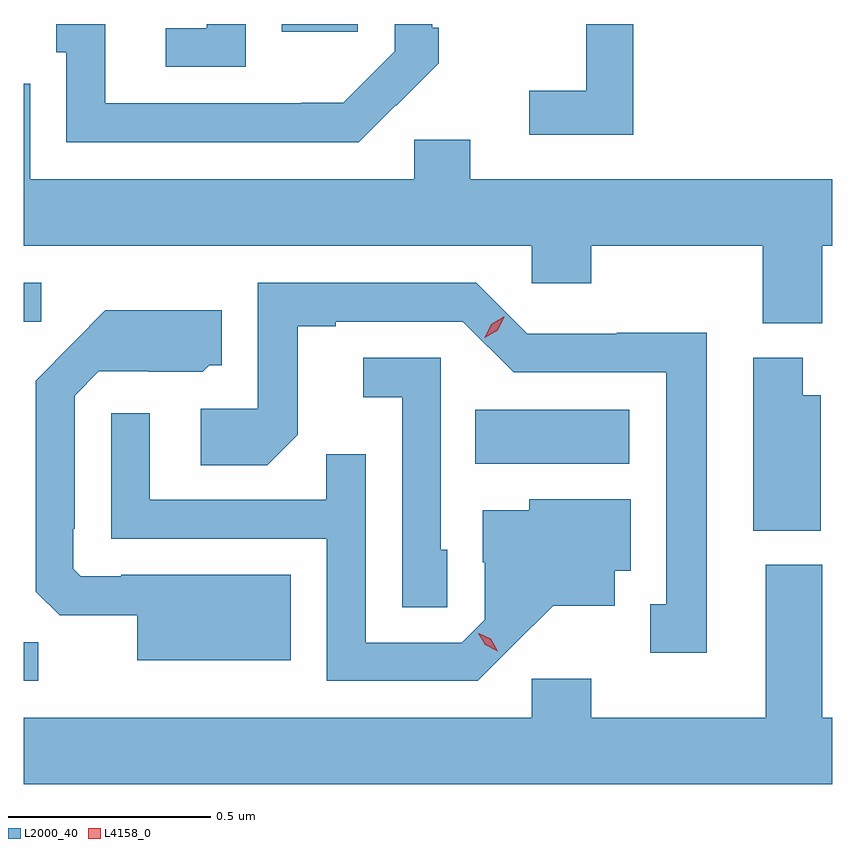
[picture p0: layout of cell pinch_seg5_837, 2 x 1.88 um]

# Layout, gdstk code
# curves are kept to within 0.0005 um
import gdstk
lib = gdstk.Library(unit=1e-6, precision=1e-09)
def R(c, l, rs):  # rectangles x0, y0, x1, y1
    for r in rs: c.add(gdstk.rectangle(r[:2], r[2:], *l))
def P(c, l, *ps):  # polygons
    for p in ps: c.add(gdstk.Polygon(p, *l))
L2000_40 = (2000, 40)
L4158_0 = (4158, 0)

pinch_seg5_837 = lib.new_cell('pinch_seg5_837')
R(pinch_seg5_837, L2000_40, [(765.177,890.316,765.213,890.411), (766.294,890.852,766.675,890.986), (765.177,891.204,765.22,891.3), (765.815,891.921,766.003,891.94)])
P(pinch_seg5_837, L2000_40, [(765.726,891.94),(765.63,891.94),(765.63,891.93),(765.528,891.93),(765.528,891.834),(765.726,891.834)],
  [(766.685,891.94),(766.568,891.94),(766.568,891.775),(766.428,891.775),(766.428,891.666),(766.685,891.666)],
  [(766.097,891.739),(766.098,891.738),(766.203,891.843),(766.203,891.931),(766.188,891.931),(766.188,891.94),(766.095,891.94),(766.095,891.873),(765.967,891.745),(765.863,891.745),(765.863,891.744),(765.379,891.744),(765.379,891.94),(765.257,891.94),(765.257,891.87),(765.282,891.87),(765.282,891.648),(766.006,891.648)],
  [(767.152,891.392),(767.177,891.392),(767.177,891.556),(766.282,891.556),(766.282,891.654),(766.143,891.654),(766.143,891.556),(765.193,891.556),(765.193,891.792),(765.177,891.792),(765.177,891.392),(766.434,891.392),(766.434,891.299),(766.581,891.299),(766.581,891.392),(767.005,891.392),(767.005,891.2),(767.152,891.2)],
  [(766.867,891.176),(766.644,891.176),(766.644,891.174),(766.422,891.174),(766.296,891.3),(765.756,891.3),(765.756,890.988),(765.615,890.988),(765.615,890.848),(765.779,890.848),(765.855,890.924),(765.855,891.192),(765.949,891.192),(765.949,891.204),(766.263,891.204),(766.389,891.078),(766.766,891.078),(766.766,890.505),(766.727,890.505),(766.727,890.385),(766.867,890.385)],
  [(765.838,890.578),(765.418,890.578),(765.418,890.574),(765.318,890.574),(765.3,890.592),(765.3,890.692),(765.303,890.692),(765.303,891.021),(765.363,891.081),(765.486,891.081),(765.486,891.08),(765.62,891.08),(765.636,891.096),(765.667,891.096),(765.667,891.232),(765.379,891.232),(765.207,891.058),(765.207,890.536),(765.266,890.477),(765.458,890.477),(765.458,890.366),(765.838,890.366)],
  [(767.149,891.022),(767.104,891.022),(767.104,891.115),(766.982,891.115),(766.982,890.687),(767.149,890.687)],
  [(766.224,890.64),(766.209,890.64),(766.209,891.114),(766.017,891.114),(766.017,891.017),(766.113,891.017),(766.113,890.497),(766.224,890.497)],
  [(766.384,890.399),(766.487,890.501),(766.639,890.501),(766.639,890.588),(766.678,890.588),(766.678,890.764),(766.428,890.764),(766.428,890.737),(766.313,890.737),(766.313,890.608),(766.317,890.608),(766.317,890.466),(766.26,890.409),(766.023,890.409),(766.023,890.876),(765.925,890.876),(765.925,890.763),(765.489,890.763),(765.489,890.977),(765.393,890.977),(765.393,890.667),(765.927,890.667),(765.927,890.316),(766.3,890.316)],
  [(767.177,890.224),(767.152,890.224),(767.152,890.602),(767.012,890.602),(767.012,890.224),(766.581,890.224),(766.581,890.32),(766.434,890.32),(766.434,890.224),(765.177,890.224),(765.177,890.06),(767.177,890.06)])
P(pinch_seg5_837, L4158_0, [(766.317,891.164),(766.317,891.164),(766.334,891.197),(766.365,891.216),(766.366,891.216),(766.366,891.216),(766.349,891.183),(766.317,891.164)],
  [(766.35,890.389),(766.319,890.404),(766.301,890.433),(766.301,890.433),(766.302,890.433),(766.332,890.419),(766.35,890.389),(766.35,890.389)])

lib.write_gds('pinch_seg5_837.gds')
